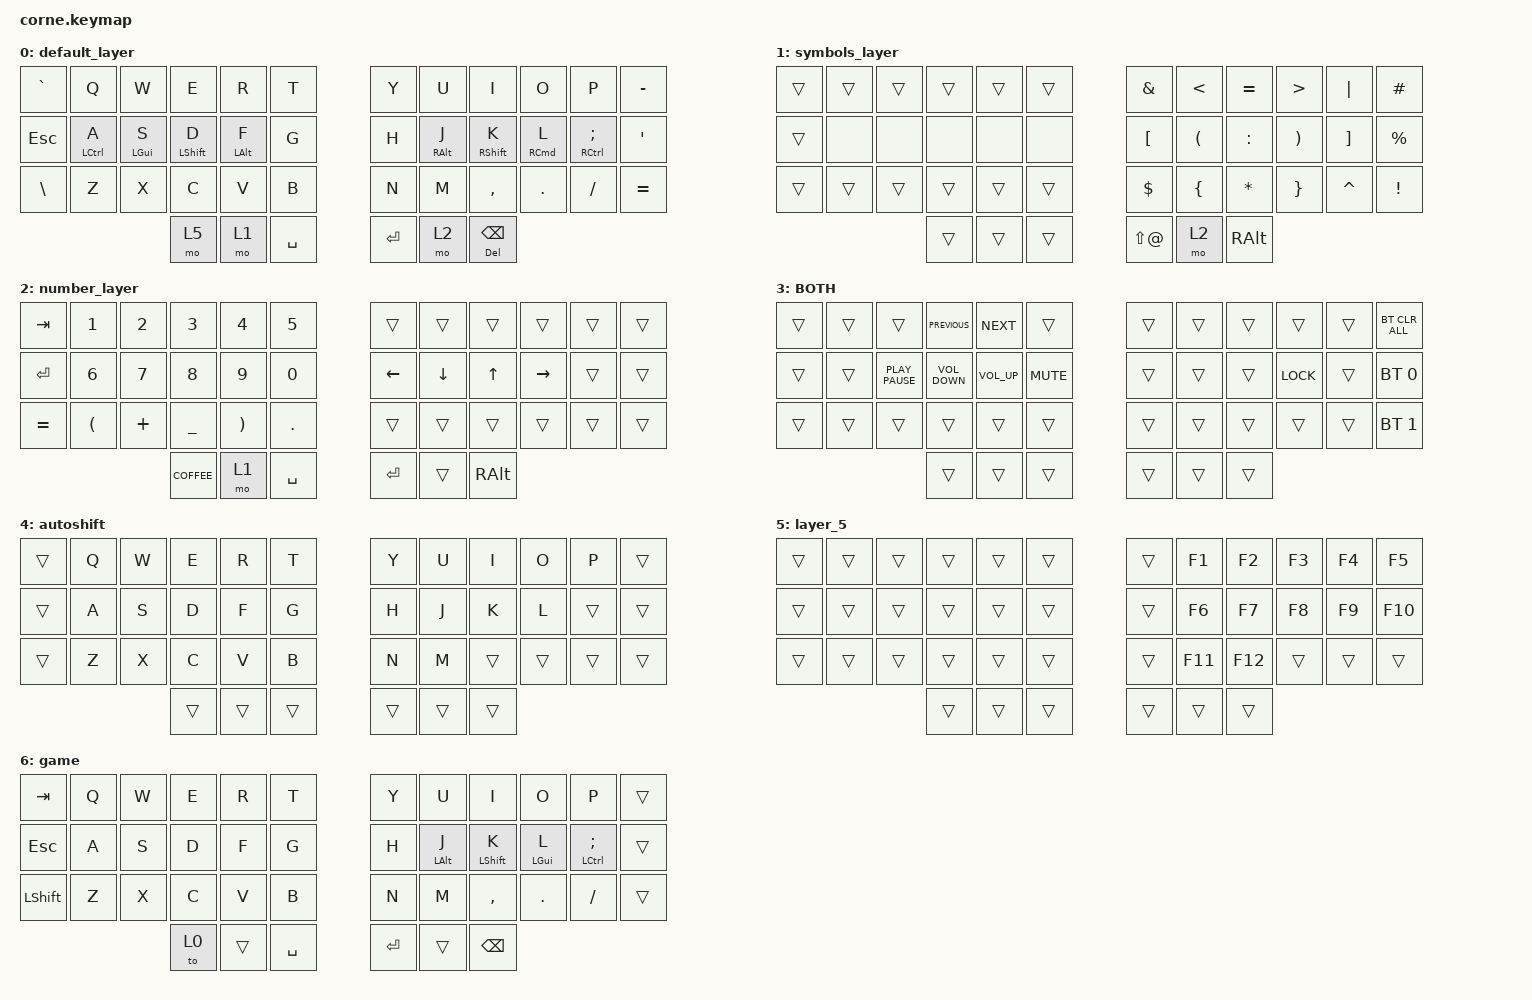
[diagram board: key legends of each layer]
/*
 * Copyright (c) 2020 The ZMK Contributors
 *
 * SPDX-License-Identifier: MIT
 */

#include <behaviors.dtsi>
#include <dt-bindings/zmk/bt.h>
#include <dt-bindings/zmk/keys.h>

&sk { /delete-property/ ignore-modifiers; };

/ {
    macros {
        shift: with_lshift {
            compatible = "zmk,behavior-macro-one-param";
            #binding-cells = <1>;
            bindings =
                <&macro_press>,
                <&kp LSHFT>,
                <&macro_tap>,
                <&macro_param_1to1 &kp MACRO_PLACEHOLDER>,
                <&macro_release>,
                <&kp LSHFT>;

            label = "KEY_PRESS_WITH_LEFT_SHIFT_MODIFIER";
        };
    };

    behaviors {
        as_ht: autoshift_hold_tap {
            compatible = "zmk,behavior-hold-tap";
            label = "AUTOSHIFT_HOLD_TAP";
            bindings = <&shift>, <&kp>;

            #binding-cells = <2>;
            tapping-term-ms = <190>;
        };

        hml: homewrow_mods_left {
            compatible = "zmk,behavior-hold-tap";
            label = "HOMEROW_MODS_LEFT_HAND";
            bindings = <&kp>, <&kp>;

            #binding-cells = <2>;
            tapping-term-ms = <200>;
            hold-trigger-key-positions = <6 7 8 9 10 11 18 19 20 21 22 23 30 31 32 33 34 35 39 40 41>;
            quick-tap-ms = <150>;
            require-prior-idle-ms = <100>;
            flavor = "balanced";
            hold-trigger-on-release;
        };

        hmr: homewrow_mods_right {
            compatible = "zmk,behavior-hold-tap";
            label = "HOMEROW_MODS_RIGHT_HAND";
            bindings = <&kp>, <&kp>;

            #binding-cells = <2>;
            tapping-term-ms = <200>;
            hold-trigger-key-positions = <0 1 2 3 4 5 12 13 14 15 16 17 24 25 26 27 28 29 36 37 38>;
            quick-tap-ms = <150>;
            require-prior-idle-ms = <100>;
            flavor = "balanced";
            hold-trigger-on-release;
        };
    };

    combos {
        compatible = "zmk,combos";

        tab {
            bindings = <&kp TAB>;
            key-positions = <3 2>;
        };

        caps-word {
            bindings = <&caps_word>;
            key-positions = <17 18>;
        };

        game {
            bindings = <&to 6>;
            key-positions = <36 41>;
            layers = <0>;
        };
    };

    keymap {
        compatible = "zmk,keymap";

        default_layer {
            // -----------------------------------------------------------------------------------------
            // |  TAB |  Q  |  W  |  E  |  R  |  T  |   |  Y  |  U   |  I  |  O  |  P  | BKSP |
            // | CTRL |  A  |  S  |  D  |  F  |  G  |   |  H  |  J   |  K  |  L  |  ;  |  '   |
            // | SHFT |  Z  |  X  |  C  |  V  |  B  |   |  N  |  M   |  ,  |  .  |  /  | ESC  |
            //                    | GUI | LWR | SPC |   | ENT | RSE  | ALT |

            bindings = <
&kp GRAVE      &kp Q         &kp W        &kp E              &kp R            &kp T        &kp Y    &kp U             &kp I               &kp O        &kp P                    &kp MINUS
&kp ESCAPE     &hml LCTRL A  &hml LGUI S  &hml LEFT_SHIFT D  &hml LEFT_ALT F  &kp G        &kp H    &hmr RIGHT_ALT J  &hmr RIGHT_SHIFT K  &hmr RCMD L  &hmr RIGHT_CONTROL SEMI  &kp SQT
&kp BACKSLASH  &kp Z         &kp X        &kp C              &kp V            &kp B        &kp N    &kp M             &kp COMMA           &kp DOT      &kp FSLH                 &kp EQUAL
                                          &mo 5              &mo 1            &kp SPACE    &kp RET  &mo 2             &hmr DEL BACKSPACE
            >;
        };

        symbols_layer {
            // -----------------------------------------------------------------------------------------
            // |  TAB |  1  |  2  |  3  |  4  |  5  |   |  6  |  7  |  8  |  9  |  0  | BKSP |
            // | BTCLR| BT1 | BT2 | BT3 | BT4 | BT5 |   | LFT | DWN |  UP | RGT |     |      |
            // | SHFT |     |     |     |     |     |   |     |     |     |     |     |      |
            //                    | GUI |     | SPC |   | ENT |     | ALT |

            bindings = <
&trans  &trans  &trans  &trans  &trans  &trans    &kp AMPS    &kp LESS_THAN         &kp EQUAL     &kp GREATER_THAN       &kp PIPE   &kp HASH
&trans  &none   &none   &none   &none   &none     &kp LBKT    &kp LEFT_PARENTHESIS  &kp COLON     &kp RIGHT_PARENTHESIS  &kp RBKT   &kp PERCENT
&trans  &trans  &trans  &trans  &trans  &trans    &kp DOLLAR  &kp LEFT_BRACE        &kp ASTERISK  &kp RIGHT_BRACE        &kp CARET  &kp EXCLAMATION
                        &trans  &trans  &trans    &kp LS(AT)  &mo 2                 &kp RALT
            >;
        };

        number_layer {
            // -----------------------------------------------------------------------------------------
            // |  TAB |  !  |  @  |  #  |  $  |  %  |   |  ^  |  &  |  *  |  (  |  )  | BKSP |
            // | CTRL |     |     |     |     |     |   |  -  |  =  |  [  |  ]  |  \  |  `   |
            // | SHFT |     |     |     |     |     |   |  _  |  +  |  {  |  }  | "|" |  ~   |
            //                    | GUI |     | SPC |   | ENT |     | ALT |

            bindings = <
&kp TAB    &kp N1    &kp N2    &kp N3        &kp N4    &kp N5       &trans    &trans    &trans        &trans     &trans  &trans
&kp RET    &kp N6    &kp N7    &kp N8        &kp N9    &kp N0       &kp LEFT  &kp DOWN  &kp UP_ARROW  &kp RIGHT  &trans  &trans
&kp EQUAL  &kp LPAR  &kp PLUS  &kp UNDER     &kp RPAR  &kp DOT      &trans    &trans    &trans        &trans     &trans  &trans
                               &kp K_COFFEE  &mo 1     &kp SPACE    &kp RET   &trans    &kp RALT
            >;
        };

        BOTH {
            bindings = <
&trans  &trans  &trans            &kp K_PREVIOUS     &kp K_NEXT       &trans        &trans  &trans  &trans  &trans      &trans  &bt BT_CLR_ALL
&trans  &trans  &kp K_PLAY_PAUSE  &kp C_VOLUME_DOWN  &kp C_VOLUME_UP  &kp K_MUTE    &trans  &trans  &trans  &kp K_LOCK  &trans  &bt BT_SEL 0
&trans  &trans  &trans            &trans             &trans           &trans        &trans  &trans  &trans  &trans      &trans  &bt BT_SEL 1
                                  &trans             &trans           &trans        &trans  &trans  &trans
            >;
        };

        autoshift {
            bindings = <
&trans  &kp Q  &kp W  &kp E   &kp R   &kp T     &kp Y   &kp U   &kp I   &kp O   &kp P   &trans
&trans  &kp A  &kp S  &kp D   &kp F   &kp G     &kp H   &kp J   &kp K   &kp L   &trans  &trans
&trans  &kp Z  &kp X  &kp C   &kp V   &kp B     &kp N   &kp M   &trans  &trans  &trans  &trans
                      &trans  &trans  &trans    &trans  &trans  &trans
            >;
        };

        layer_5 {
            bindings = <
&trans  &trans  &trans  &trans  &trans  &trans    &trans  &kp F1   &kp F2   &kp F3  &kp F4  &kp F5
&trans  &trans  &trans  &trans  &trans  &trans    &trans  &kp F6   &kp F7   &kp F8  &kp F9  &kp F10
&trans  &trans  &trans  &trans  &trans  &trans    &trans  &kp F11  &kp F12  &trans  &trans  &trans
                        &trans  &trans  &trans    &trans  &trans   &trans
            >;
        };

        game {
            bindings = <
&kp TAB         &kp Q  &kp W  &kp E  &kp R   &kp T        &kp Y      &kp U            &kp I              &kp O            &kp P                 &trans
&kp ESCAPE      &kp A  &kp S  &kp D  &kp F   &kp G        &kp H      &hmr LEFT_ALT J  &hmr LEFT_SHIFT K  &hmr LEFT_GUI L  &hmr LCTRL SEMICOLON  &trans
&kp LEFT_SHIFT  &kp Z  &kp X  &kp C  &kp V   &kp B        &kp N      &kp M            &kp COMMA          &kp DOT          &kp FSLH              &trans
                              &to 0  &trans  &kp SPACE    &kp ENTER  &trans           &kp BACKSPACE
            >;
        };
    };

    conditional_layers {
        compatible = "zmk,conditional-layers";

        tri_layer {
            if-layers = <1 2>;
            then-layer = <3>;
        };
    };
};
